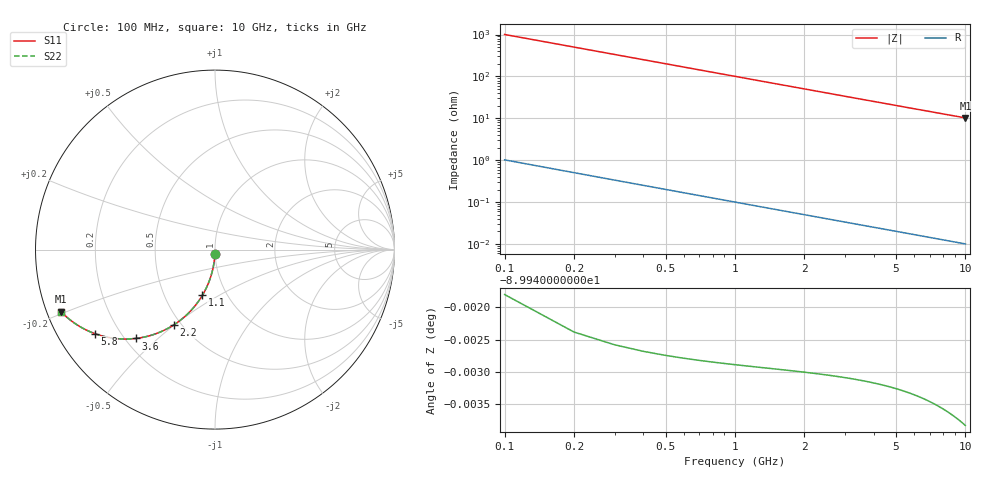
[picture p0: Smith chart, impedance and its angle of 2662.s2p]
# Hz S RI R 50.00
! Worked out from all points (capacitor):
!   100 points, 100 MHz to 10 GHz, reference 50 ohm
!   read as one part in shunt: C = 1.58 pF near 100 MHz
!   lowest |Z| = 10.3 ohm at 10 GHz (marker M1)
!   S11 on the Smith chart (normalised r, x): 100 MHz: 1.00, -0.05; 1.1 GHz: 0.77, -0.42; 2.2 GHz: 0.46, -0.50; 3.6 GHz: 0.24, -0.43; 5.8 GHz: 0.11, -0.31; 10 GHz: 0.04, -0.19
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1e8  -0.000637 -0.0248  0.9993 -0.0249  0.9993 -0.0249  -0.000637 -0.0248
2e8  -0.00251 -0.0496  0.9975 -0.0497  0.9975 -0.0497  -0.00251 -0.0496
3e8  -0.0056 -0.0741  0.9944 -0.0743  0.9944 -0.0743  -0.0056 -0.0741
4e8  -0.00989 -0.0984  0.9901 -0.0986  0.9901 -0.0986  -0.00989 -0.0984
5e8  -0.0153 -0.1222  0.9847 -0.1225  0.9847 -0.1225  -0.0153 -0.1222
6e8  -0.0219 -0.1457  0.9781 -0.146  0.9781 -0.146  -0.0219 -0.1457
7e8  -0.0295 -0.1686  0.9705 -0.169  0.9705 -0.169  -0.0295 -0.1686
9e8  -0.0478 -0.2126  0.9522 -0.2132  0.9522 -0.2132  -0.0478 -0.2126
1.1e9  -0.0697 -0.2538  0.9303 -0.2545  0.9303 -0.2545  -0.0697 -0.2538
1.4e9  -0.108 -0.3095  0.8919 -0.3103  0.8919 -0.3103  -0.108 -0.3095
1.8e9  -0.1665 -0.3716  0.8335 -0.3726  0.8335 -0.3726  -0.1665 -0.3716
2.2e9  -0.2295 -0.4194  0.7705 -0.4207  0.7705 -0.4207  -0.2295 -0.4194
2.8e9  -0.3249 -0.467  0.6751 -0.4686  0.6751 -0.4686  -0.3249 -0.467
3.4e9  -0.4144 -0.4911  0.5856 -0.4931  0.5856 -0.4931  -0.4144 -0.4911
3.6e9  -0.4422 -0.4951  0.5578 -0.4972  0.5578 -0.4972  -0.4422 -0.4951
4.3e9  -0.5301 -0.4973  0.4699 -0.4998  0.4699 -0.4998  -0.5301 -0.4973
5.1e9  -0.6128 -0.4851  0.3872 -0.4881  0.3872 -0.4881  -0.6128 -0.4851
5.8e9  -0.6713 -0.4675  0.3287 -0.4709  0.3287 -0.4709  -0.6713 -0.4675
6.7e9  -0.7311 -0.4409  0.2689 -0.4449  0.2689 -0.4449  -0.7311 -0.4409
7.5e9  -0.7727 -0.4163  0.2272 -0.4208  0.2272 -0.4208  -0.7727 -0.4163
8.4e9  -0.8098 -0.3895  0.1902 -0.3944  0.1902 -0.3944  -0.8098 -0.3895
1e10  -0.8576 -0.346  0.1424 -0.352  0.1424 -0.352  -0.8576 -0.346
